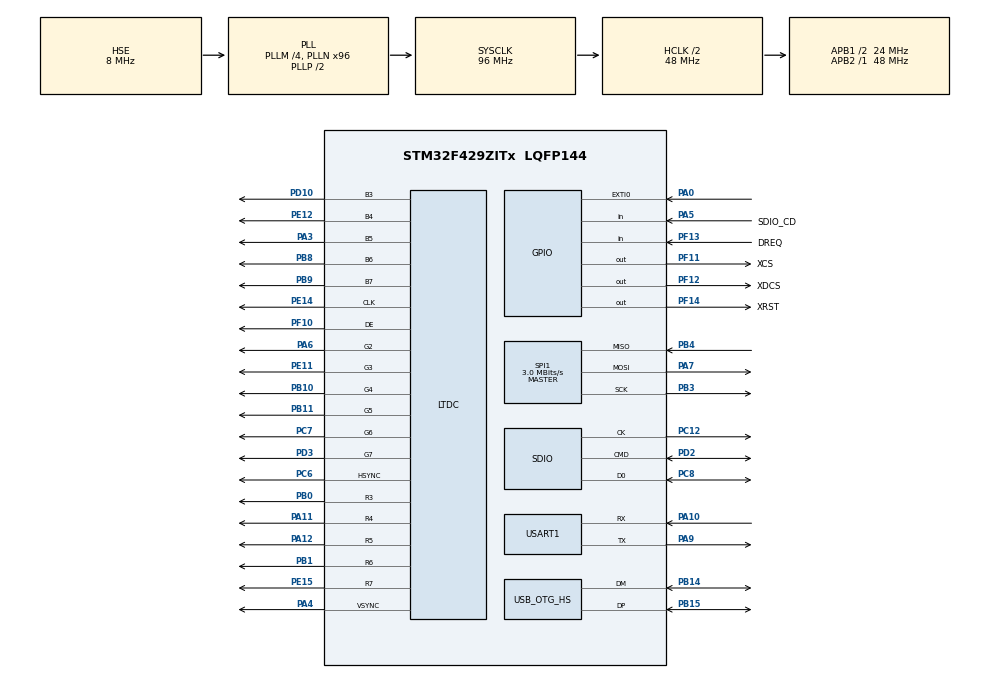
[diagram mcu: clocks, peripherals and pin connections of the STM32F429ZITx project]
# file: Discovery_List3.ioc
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Dma.Request0=SDIO_RX
Dma.Request1=SDIO_TX
Dma.SDIO_RX.0.Direction=DMA_PERIPH_TO_MEMORY
Dma.SDIO_RX.0.FIFOMode=DMA_FIFOMODE_ENABLE
Dma.SDIO_RX.0.FIFOThreshold=DMA_FIFO_THRESHOLD_FULL
Dma.SDIO_RX.0.Instance=DMA2_Stream3
Dma.SDIO_RX.0.MemBurst=DMA_MBURST_INC4
Dma.SDIO_RX.0.MemDataAlignment=DMA_MDATAALIGN_WORD
Dma.SDIO_RX.0.MemInc=DMA_MINC_ENABLE
Dma.SDIO_RX.0.Mode=DMA_PFCTRL
Dma.SDIO_RX.0.PeriphBurst=DMA_PBURST_INC4
Dma.SDIO_RX.0.PeriphDataAlignment=DMA_PDATAALIGN_WORD
Dma.SDIO_RX.0.PeriphInc=DMA_PINC_DISABLE
Dma.SDIO_RX.0.Priority=DMA_PRIORITY_LOW
Dma.SDIO_TX.1.Direction=DMA_MEMORY_TO_PERIPH
Dma.SDIO_TX.1.FIFOMode=DMA_FIFOMODE_ENABLE
Dma.SDIO_TX.1.FIFOThreshold=DMA_FIFO_THRESHOLD_FULL
Dma.SDIO_TX.1.Instance=DMA2_Stream6
Dma.SDIO_TX.1.MemBurst=DMA_MBURST_INC4
Dma.SDIO_TX.1.MemDataAlignment=DMA_MDATAALIGN_WORD
Dma.SDIO_TX.1.MemInc=DMA_MINC_ENABLE
Dma.SDIO_TX.1.Mode=DMA_PFCTRL
Dma.SDIO_TX.1.PeriphBurst=DMA_PBURST_INC4
Dma.SDIO_TX.1.PeriphDataAlignment=DMA_PDATAALIGN_WORD
Dma.SDIO_TX.1.PeriphInc=DMA_PINC_DISABLE
Dma.SDIO_TX.1.Priority=DMA_PRIORITY_LOW
FATFS.BSP.number=1
FATFS._USE_LFN=3
FATFS0.BSP.STBoard=false
FATFS0.BSP.api=Unknown
FATFS0.BSP.instance=PA5
FATFS0.BSP.ip=GPIO
FATFS0.BSP.mode=Input
FATFS0.BSP.name=Detect_SDIO
FATFS0.BSP.solution=PA5
FREERTOS.Tasks01=defaultTask,24,512,StartDefaultTask,Default,NULL,Static,defaultTaskBuffer,defaultTaskControlBlock;ReadButton,24,128,ReadButtonTask,Default,NULL,Dynamic,NULL,NULL
FREERTOS.configUSE_NEWLIB_REENTRANT=1
LTDC.ActiveH=320
LTDC.ActiveW=240
Mcu.Family=STM32F4
Mcu.Name=STM32F429ZITx
Mcu.Package=LQFP144
NVIC.DMA2_Stream3_IRQn=true\:5\:0\:false\:false\:true\:true\:false\:true\:true
NVIC.DMA2_Stream6_IRQn=true\:5\:0\:false\:false\:true\:true\:false\:true\:true
NVIC.EXTI0_IRQn=true\:5\:0\:false\:false\:true\:true\:true\:true\:true
NVIC.OTG_HS_IRQn=true\:5\:0\:false\:false\:true\:true\:false\:true\:true
NVIC.PriorityGroup=NVIC_PRIORITYGROUP_4
NVIC.TIM3_IRQn=true\:15\:0\:false\:false\:true\:false\:false\:true\:true
NVIC.TimeBase=TIM3_IRQn
NVIC.TimeBaseIP=TIM3
PA0/WKUP.Signal=GPXTI0
PA10.Mode=Asynchronous
PA10.Signal=USART1_RX
PA11.Mode=RGB565
PA11.Signal=LTDC_R4
PA12.Mode=RGB565
PA12.Signal=LTDC_R5
PA3.Mode=RGB565
PA3.Signal=LTDC_B5
PA4.Mode=RGB565
PA4.Signal=LTDC_VSYNC
PA5.GPIO_Label=SDIO_CD
PA5.Signal=GPIO_Input
PA6.Mode=RGB565
PA6.Signal=LTDC_G2
PA7.Mode=Full_Duplex_Master
PA7.Signal=SPI1_MOSI
PA9.Mode=Asynchronous
PA9.Signal=USART1_TX
PB0.Mode=RGB565
PB0.Signal=LTDC_R3
PB1.Mode=RGB565
PB1.Signal=LTDC_R6
PB10.Mode=RGB565
PB10.Signal=LTDC_G4
PB11.Mode=RGB565
PB11.Signal=LTDC_G5
PB14.Mode=Device_Only_FS
PB14.Signal=USB_OTG_HS_DM
PB15.Mode=Device_Only_FS
PB15.Signal=USB_OTG_HS_DP
PB3.Mode=Full_Duplex_Master
PB3.Signal=SPI1_SCK
PB4.Mode=Full_Duplex_Master
PB4.Signal=SPI1_MISO
PB8.Mode=RGB565
PB8.Signal=LTDC_B6
PB9.Mode=RGB565
PB9.Signal=LTDC_B7
PC12.Mode=SD_1_bit
PC12.Signal=SDIO_CK
PC14/OSC32_IN.Mode=LSE-External-Oscillator
PC14/OSC32_IN.Signal=RCC_OSC32_IN
PC15/OSC32_OUT.Mode=LSE-External-Oscillator
PC15/OSC32_OUT.Signal=RCC_OSC32_OUT
PC6.Mode=RGB565
PC6.Signal=LTDC_HSYNC
PC7.Mode=RGB565
PC7.Signal=LTDC_G6
PC8.Mode=SD_1_bit
PC8.Signal=SDIO_D0
PD10.Mode=RGB565
PD10.Signal=LTDC_B3
PD2.Mode=SD_1_bit
PD2.Signal=SDIO_CMD
PD3.Mode=RGB565
PD3.Signal=LTDC_G7
PE11.Mode=RGB565
PE11.Signal=LTDC_G3
PE12.Mode=RGB565
PE12.Signal=LTDC_B4
PE14.Mode=RGB565
PE14.Signal=LTDC_CLK
PE15.Mode=RGB565
PE15.Signal=LTDC_R7
PF10.Mode=RGB565
PF10.Signal=LTDC_DE
PF11.GPIO_Label=XCS
PF11.Signal=GPIO_Output
PF12.GPIO_Label=XDCS
PF12.Signal=GPIO_Output
PF13.GPIO_Label=DREQ
PF13.Signal=GPIO_Input
PF14.GPIO_Label=XRST
PF14.Signal=GPIO_Output
PH0/OSC_IN.Mode=HSE-External-Oscillator
PH0/OSC_IN.Signal=RCC_OSC_IN
PH1/OSC_OUT.Mode=HSE-External-Oscillator
PH1/OSC_OUT.Signal=RCC_OSC_OUT
ProjectManager.HeapSize=0x400
ProjectManager.StackSize=0x800
ProjectManager.TargetToolchain=STM32CubeIDE
RCC.48MHZClocksFreq_Value=48000000
RCC.AHBCLKDivider=RCC_SYSCLK_DIV2
RCC.AHBFreq_Value=48000000
RCC.APB1CLKDivider=RCC_HCLK_DIV2
RCC.APB1Freq_Value=24000000
RCC.APB1TimFreq_Value=48000000
RCC.APB2Freq_Value=48000000
RCC.APB2TimFreq_Value=48000000
RCC.CortexFreq_Value=48000000
RCC.HCLKFreq_Value=48000000
RCC.HSE_VALUE=8000000
RCC.HSI_VALUE=16000000
RCC.PLLM=4
RCC.PLLN=96
RCC.PLLSAIN=50
RCC.SYSCLKFreq_VALUE=96000000
RCC.SYSCLKSource=RCC_SYSCLKSOURCE_PLLCLK
RCC.VCOOutputFreq_Value=192000000
SDIO.ClockDiv=2
SPI1.BaudRatePrescaler=SPI_BAUDRATEPRESCALER_16
SPI1.CalculateBaudRate=3.0 MBits/s
SPI1.Direction=SPI_DIRECTION_2LINES
SPI1.Mode=SPI_MODE_MASTER
SPI1.VirtualType=VM_MASTER
USART1.VirtualMode=VM_ASYNC
USB_DEVICE.CLASS_NAME_HS=MSC
USB_DEVICE.VirtualMode-MSC_HS=Msc
USB_DEVICE.VirtualModeHS=Msc_HS
USB_OTG_HS.VirtualMode-Device_Only_FS=Device_Only_FS
VP_FATFS_VS_SDIO.Mode=SDIO
VP_FREERTOS_VS_CMSIS_V2.Mode=CMSIS_V2
VP_SYS_VS_tim3.Mode=TIM3
VP_USB_DEVICE_VS_USB_DEVICE_MSC_HS.Mode=MSC_HS
board=STM32F429I-DISC1

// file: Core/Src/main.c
/* USER CODE BEGIN Header */
/**
  ******************************************************************************
  * @file           : main.c
  * @brief          : Main program body
  ******************************************************************************
  * @attention
  *
  * Copyright (c) 2024 STMicroelectronics.
  * All rights reserved.
  *
  * This software is licensed under terms that can be found in the LICENSE file
  * in the root directory of this software component.
  * If no LICENSE file comes with this software, it is provided AS-IS.
  *
  ******************************************************************************
  */
/* USER CODE END Header */
#include "main.h"
#include "cmsis_os.h"
#include "dma.h"
#include "fatfs.h"
#include "ltdc.h"
#include "sdio.h"
#include "spi.h"
#include "usart.h"
#include "usb_device.h"
#include "gpio.h"

void SystemClock_Config(void);
void MX_FREERTOS_Init(void);

int main(void)
{

  /* MCU Configuration--------------------------------------------------------*/

  /* Reset of all peripherals, Initializes the Flash interface and the Systick. */
  HAL_Init();

  /* Configure the system clock */
  SystemClock_Config();

  /* Initialize all configured peripherals */
  MX_GPIO_Init();
  MX_DMA_Init();
  MX_SDIO_SD_Init();
  MX_USART1_UART_Init();
  MX_FATFS_Init();
  MX_LTDC_Init();
  MX_SPI1_Init();
  /* USER CODE BEGIN 2 */

  //Mount_SD("/");
  /* USER CODE END 2 */

  /* Init scheduler */
  osKernelInitialize();

  /* Call init function for freertos objects (in cmsis_os2.c) */
  MX_FREERTOS_Init();

  /* Start scheduler */
  osKernelStart();

  /* We should never get here as control is now taken by the scheduler */

  /* Infinite loop */
  while (1)
  {

  }
}

void SystemClock_Config(void)
{
  RCC_OscInitTypeDef RCC_OscInitStruct = {0};
  RCC_ClkInitTypeDef RCC_ClkInitStruct = {0};

  /** Configure the main internal regulator output voltage
  */
  __HAL_RCC_PWR_CLK_ENABLE();
  __HAL_PWR_VOLTAGESCALING_CONFIG(PWR_REGULATOR_VOLTAGE_SCALE3);

  /** Initializes the RCC Oscillators according to the specified parameters
  * in the RCC_OscInitTypeDef structure.
  */
  RCC_OscInitStruct.OscillatorType = RCC_OSCILLATORTYPE_HSE;
  RCC_OscInitStruct.HSEState = RCC_HSE_ON;
  RCC_OscInitStruct.PLL.PLLState = RCC_PLL_ON;
  RCC_OscInitStruct.PLL.PLLSource = RCC_PLLSOURCE_HSE;
  RCC_OscInitStruct.PLL.PLLM = 4;
  RCC_OscInitStruct.PLL.PLLN = 96;
  RCC_OscInitStruct.PLL.PLLP = RCC_PLLP_DIV2;
  RCC_OscInitStruct.PLL.PLLQ = 4;
  if (HAL_RCC_OscConfig(&RCC_OscInitStruct) != HAL_OK)
  {
    Error_Handler();
  }

  /** Initializes the CPU, AHB and APB buses clocks
  */
  RCC_ClkInitStruct.ClockType = RCC_CLOCKTYPE_HCLK|RCC_CLOCKTYPE_SYSCLK
                              |RCC_CLOCKTYPE_PCLK1|RCC_CLOCKTYPE_PCLK2;
  RCC_ClkInitStruct.SYSCLKSource = RCC_SYSCLKSOURCE_PLLCLK;
  RCC_ClkInitStruct.AHBCLKDivider = RCC_SYSCLK_DIV2;
  RCC_ClkInitStruct.APB1CLKDivider = RCC_HCLK_DIV2;
  RCC_ClkInitStruct.APB2CLKDivider = RCC_HCLK_DIV1;

  if (HAL_RCC_ClockConfig(&RCC_ClkInitStruct, FLASH_LATENCY_1) != HAL_OK)
  {
    Error_Handler();
  }
}

void HAL_TIM_PeriodElapsedCallback(TIM_HandleTypeDef *htim)
{
  if (htim->Instance == TIM3) {
    HAL_IncTick();
  }
}

void Error_Handler(void)
{
  __disable_irq();
  while (1)
  {
  }
}

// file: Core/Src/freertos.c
/* USER CODE BEGIN Header */
/**
  ******************************************************************************
  * File Name          : freertos.c
  * Description        : Code for freertos applications
  ******************************************************************************
  * @attention
  *
  * Copyright (c) 2024 STMicroelectronics.
  * All rights reserved.
  *
  * This software is licensed under terms that can be found in the LICENSE file
  * in the root directory of this software component.
  * If no LICENSE file comes with this software, it is provided AS-IS.
  *
  ******************************************************************************
  */
/* USER CODE END Header */

#include "FreeRTOS.h"
#include "task.h"
#include "main.h"
#include "cmsis_os.h"

/* USER CODE BEGIN Includes */
#include "VS1003B.h"
#include "File_Handling.h"
#include "MP3_FileHandaling.h"
/* USER CODE END Includes */

typedef StaticTask_t osStaticThreadDef_t;

/* USER CODE BEGIN Variables */
	uint8_t PlayState = 1;
	char song[100] = "song.mp3";
/* USER CODE END Variables */
/* Definitions for defaultTask */
osThreadId_t defaultTaskHandle;
uint32_t defaultTaskBuffer[ 512 ];
osStaticThreadDef_t defaultTaskControlBlock;
const osThreadAttr_t defaultTask_attributes = {
  .name = "defaultTask",
  .cb_mem = &defaultTaskControlBlock,
  .cb_size = sizeof(defaultTaskControlBlock),
  .stack_mem = &defaultTaskBuffer[0],
  .stack_size = sizeof(defaultTaskBuffer),
  .priority = (osPriority_t) osPriorityNormal,
};
/* Definitions for ReadButton */
osThreadId_t ReadButtonHandle;
const osThreadAttr_t ReadButton_attributes = {
  .name = "ReadButton",
  .stack_size = 128 * 4,
  .priority = (osPriority_t) osPriorityNormal,
};

void StartDefaultTask(void *argument);
void ReadButtonTask(void *argument);

extern void MX_USB_DEVICE_Init(void);
void MX_FREERTOS_Init(void); /* (MISRA C 2004 rule 8.1) */

void MX_FREERTOS_Init(void) {

  /* Create the thread(s) */
  /* creation of defaultTask */
  defaultTaskHandle = osThreadNew(StartDefaultTask, NULL, &defaultTask_attributes);

  /* creation of ReadButton */
  ReadButtonHandle = osThreadNew(ReadButtonTask, NULL, &ReadButton_attributes);

}

void StartDefaultTask(void *argument)
{
  /* init code for USB_DEVICE */
  MX_USB_DEVICE_Init();
  /* USER CODE BEGIN StartDefaultTask */
  	VS1003B_Init();
   VS1003B_SetVolume(0x00);
  	  Mount_SD("/");
   Check_SD_Space();
   Scan_SD_MP3("/");
   PrintMp3List();
   ShuffleList();
   PrintShufledMp3List();

  /* Infinite loop */
  for(;;)
  {
	  PlayMP3File(mp3FileListShufled[SongIndex], &PlayState);
	  //HAL_Delay(500);
	  osDelay(20);

  }
  /* USER CODE END StartDefaultTask */
}

void ReadButtonTask(void *argument)
{
  /* USER CODE BEGIN ReadButtonTask */

  /* Infinite loop */
  for(;;)
  {
	  ulTaskNotifyTake(pdTRUE, portMAX_DELAY);
	  VS1003B_SetVolume(0xFF);
	  SongIndex = (SongIndex + 1) % fileCount; // Move to the next song
  }
  /* USER CODE END ReadButtonTask */
}
